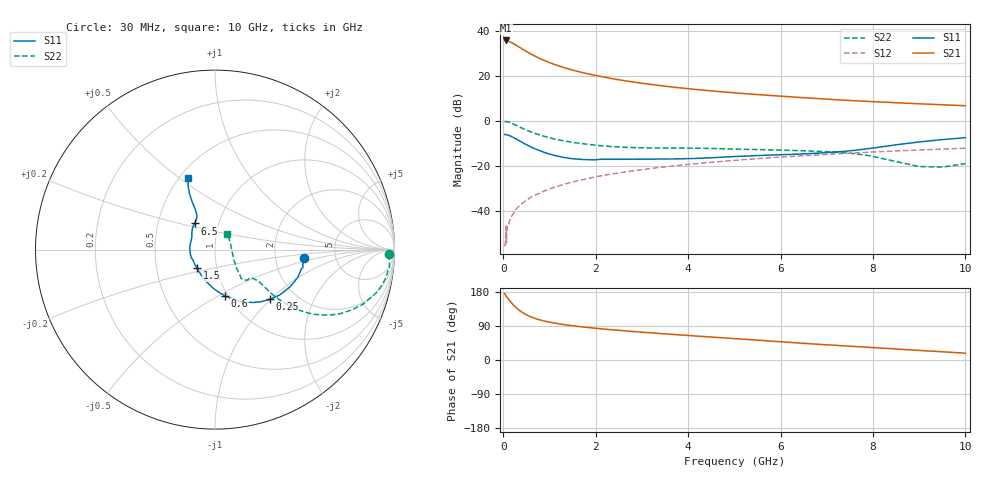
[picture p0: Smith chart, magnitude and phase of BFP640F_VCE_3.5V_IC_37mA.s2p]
! Infineon Technologies  Discrete & RF Semiconductors
! BFP640F
! VCE =  3.5 V,  IC =  37 mA
! Common Emitter S-Parameters:  Apr 2013
# GHz  S  MA  R  50
!  f  S11  S21  S12  S22
! GHz  MAG  ANG  MAG  ANG  MAG  ANG  MAG  ANG
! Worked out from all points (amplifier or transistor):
!   99 points, 30 MHz to 10 GHz, reference 50 ohm
!   highest |S21| = 36.0 dB at 50 MHz (marker M1)
!   |S21| within 3 dB of that: start of sweep to 349.1 MHz
!   unconditionally stable (mu >= 1): 1.677 GHz to end of sweep
!   at 350 MHz: K = 0.54, MSG = 35.5 dB, |S12| = -37.9 dB
!   at 3.5 GHz: K = 1.06, MAG = 16.6 dB, |S12| = -20.5 dB
!   at 10 GHz: K = 1.04, MAG = 8.3 dB, |S12| = -12.1 dB
!   S11 on the Smith chart (normalised r, x): 30 MHz: 2.95, -0.36; 250 MHz: 1.48, -0.99; 600 MHz: 0.97, -0.54; 1.5 GHz: 0.80, -0.17; 6.5 GHz: 0.77, +0.23; 10 GHz: 0.55, +0.54
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0.03  0.4993 -5.2  62.92 174.8  0.0016 107.0  0.9709 -1.6
0.05  0.4961 -9.6  63.02 171.5  0.0021 73.3  0.9744 -4.5
0.11  0.4808 -20.3  60.74 161.2  0.0047 77.4  0.9523 -11.7
0.15  0.4635 -27.3  58.51 154.9  0.0064 76.4  0.9218 -15.9
0.2  0.4402 -35.1  55.13 147.8  0.008 76.9  0.8773 -20.4
0.25  0.412 -42.3  51.57 141.3  0.0094 77.0  0.8294 -24.0
0.3  0.3865 -48.8  48.01 135.7  0.0115 74.8  0.7837 -27.1
0.4  0.3373 -60.1  41.4 126.4  0.0142 75.3  0.6983 -31.4
0.5  0.2968 -69.4  35.84 119.4  0.017 74.8  0.6285 -34.2
0.6  0.2641 -77.9  31.33 113.8  0.0199 74.6  0.571 -36.0
0.7  0.2363 -85.5  27.68 109.3  0.0223 74.2  0.5236 -37.0
0.9  0.1973 -99.2  22.27 102.5  0.0276 73.8  0.4511 -37.9
1.2  0.1622 -117.7  17.04 95.4  0.0355 73.2  0.3799 -37.7
1.5  0.1437 -134.2  13.75 90.3  0.0436 72.0  0.3346 -36.7
1.7  0.1388 -144.1  12.19 87.5  0.0486 71.5  0.3132 -36.2
2.4  0.1398 -170.2  8.698 79.3  0.0669 68.6  0.2665 -37.1
3.4  0.1419 165.3  6.179 69.8  0.0921 63.6  0.2488 -40.5
5.1  0.1621 142.3  4.188 55.6  0.1345 54.7  0.2353 -45.9
6.5  0.1849 128.1  3.321 44.0  0.168 46.7  0.216 -47.5
6.7  0.189 125.7  3.221 42.4  0.1725 45.5  0.2122 -47.4
8.5  0.2938 115.6  2.561 29.0  0.2144 35.2  0.1242 -30.6
10  0.4241 110.6  2.197 18.0  0.2469 26.4  0.1115 52.2
